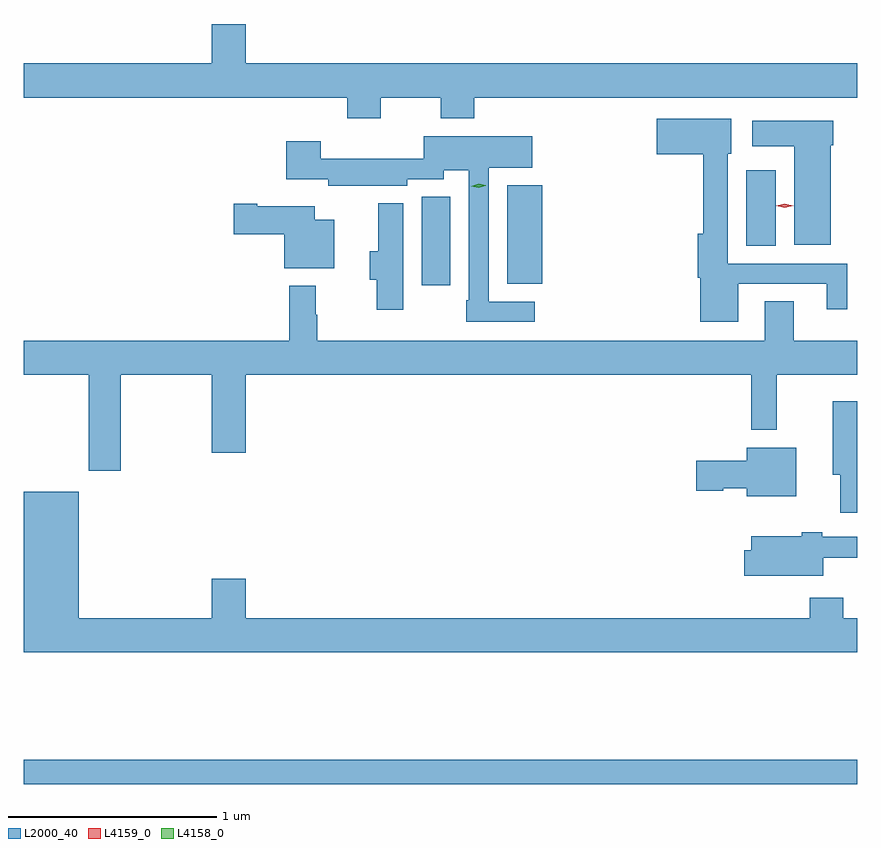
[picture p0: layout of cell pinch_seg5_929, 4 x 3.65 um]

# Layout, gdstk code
import gdstk
lib = gdstk.Library(unit=1e-6, precision=1e-09)
def R(c, l, rs):  # rectangles x0, y0, x1, y1
    for r in rs: c.add(gdstk.rectangle(r[:2], r[2:], *l))
def P(c, l, *ps):  # polygons
    for p in ps: c.add(gdstk.Polygon(p, *l))
L2000_40 = (2000, 40)
L4158_0 = (4158, 0)
L4159_0 = (4159, 0)

pinch_seg5_929 = lib.new_cell('pinch_seg5_929')
R(pinch_seg5_929, L2000_40, [(655.614,901.416,659.614,901.532), (657.524,903.81,657.661,904.235), (657.935,903.817,658.102,904.291), (659.081,904,659.224,904.363)])
P(pinch_seg5_929, L2000_40, [(657.327,904.712),(657.616,904.712),(657.616,904.613),(657.776,904.613),(657.776,904.712),(659.614,904.712),(659.614,904.876),(656.68,904.876),(656.68,905.065),(656.516,905.065),(656.516,904.876),(655.614,904.876),(655.614,904.712),(657.167,904.712),(657.167,904.613),(657.327,904.613)],
  [(659.044,903.819),(659.468,903.819),(659.468,903.696),(659.566,903.696),(659.566,903.915),(658.992,903.915),(658.992,904.443),(659.011,904.443),(659.011,904.609),(658.653,904.609),(658.653,904.439),(658.876,904.439),(658.876,904.057),(658.85,904.057),(658.85,903.846),(658.862,903.846),(658.862,903.635),(659.044,903.635)],
  [(659.488,904.482),(659.5,904.482),(659.5,904.6),(659.112,904.6),(659.112,904.478),(659.312,904.478),(659.312,904.004),(659.488,904.004)],
  [(658.066,903.732),(657.846,903.732),(657.846,904.376),(658.054,904.376),(658.054,904.525),(657.534,904.525),(657.534,904.417),(657.038,904.417),(657.038,904.501),(656.873,904.501),(656.873,904.319),(657.074,904.319),(657.074,904.289),(657.454,904.289),(657.454,904.32),(657.63,904.32),(657.63,904.364),(657.75,904.364),(657.75,903.739),(657.738,903.739),(657.738,903.636),(658.066,903.636)],
  [(657.436,904.204),(657.314,904.204),(657.314,903.975),(657.275,903.975),(657.275,903.838),(657.307,903.838),(657.307,903.693),(657.436,903.693)],
  [(657.103,904.126),(657.01,904.126),(657.01,904.189),(656.734,904.189),(656.734,904.202),(656.622,904.202),(656.622,904.055),(656.864,904.055),(656.864,903.893),(657.103,903.893)],
  [(656.079,903.38),(656.516,903.38),(656.516,903.006),(656.68,903.006),(656.68,903.38),(659.107,903.38),(659.107,903.117),(659.228,903.117),(659.228,903.38),(659.614,903.38),(659.614,903.544),(659.311,903.544),(659.311,903.734),(659.171,903.734),(659.171,903.544),(657.023,903.544),(657.023,903.668),(657.016,903.668),(657.016,903.808),(656.887,903.808),(656.887,903.544),(655.614,903.544),(655.614,903.38),(655.924,903.38),(655.924,902.919),(656.079,902.919)],
  [(659.614,903.253),(659.498,903.253),(659.498,902.9),(659.534,902.9),(659.534,902.718),(659.614,902.718)],
  [(659.323,903.031),(659.084,903.031),(659.084,902.967),(658.842,902.967),(658.842,902.825),(658.971,902.825),(658.971,902.837),(659.084,902.837),(659.084,902.798),(659.323,902.798)],
  [(659.614,902.212),(659.547,902.212),(659.547,902.311),(659.387,902.311),(659.387,902.212),(656.68,902.212),(656.68,902.401),(656.516,902.401),(656.516,902.212),(655.876,902.212),(655.876,902.818),(655.614,902.818),(655.614,902.048),(659.614,902.048)],
  [(659.452,902.503),(659.614,902.503),(659.614,902.604),(659.448,902.604),(659.448,902.624),(659.348,902.624),(659.348,902.605),(659.105,902.605),(659.105,902.539),(659.072,902.539),(659.072,902.417),(659.452,902.417)])
P(pinch_seg5_929, L4158_0, [(657.797,904.278),(657.762,904.286),(657.762,904.287),(657.762,904.287),(657.797,904.298),(657.832,904.29),(657.832,904.289),(657.832,904.289)])
P(pinch_seg5_929, L4159_0, [(659.267,904.182),(659.227,904.192),(659.226,904.192),(659.227,904.192),(659.267,904.202),(659.308,904.193),(659.308,904.193),(659.308,904.192)])

lib.write_gds('pinch_seg5_929.gds')
